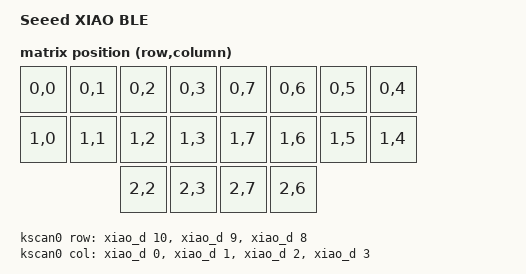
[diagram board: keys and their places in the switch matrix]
#include <dt-bindings/zmk/matrix_transform.h>

/ {
  model = "Seeed XIAO BLE";
  compatible = "seeed,xiao-ble", "seeed,xiao-ble-sense";

  chosen {
    zmk,kscan = &kscan0;
    zmk,matrix_transform = &default_transform;
    zmk,flash = &flash0;
    zmk,battery = &xiao_battery_voltage_divider;
  };

  kscan0: kscan0 {
    compatible = "zmk,kscan-gpio-matrix";
    diode-direction = "col2row";
    wakeup-source;

    col-gpios
      = <&xiao_d  0 GPIO_ACTIVE_HIGH>
      , <&xiao_d  1 GPIO_ACTIVE_HIGH>
      , <&xiao_d  2 GPIO_ACTIVE_HIGH>
      , <&xiao_d  3 GPIO_ACTIVE_HIGH>
      ;

    row-gpios
      = <&xiao_d 10 (GPIO_ACTIVE_HIGH | GPIO_PULL_DOWN)>
      , <&xiao_d  9 (GPIO_ACTIVE_HIGH | GPIO_PULL_DOWN)>
      , <&xiao_d  8 (GPIO_ACTIVE_HIGH | GPIO_PULL_DOWN)>
      ;

  };

  default_transform: keymap_transform0 {
    compatible = "zmk,matrix-transform";
    columns = <8>;
    rows = <3>;
    map = <
      RC(0,0) RC(0,1) RC(0,2) RC(0,3)    RC(0,7) RC(0,6) RC(0,5) RC(0,4)
      RC(1,0) RC(1,1) RC(1,2) RC(1,3)    RC(1,7) RC(1,6) RC(1,5) RC(1,4)
      /*           */ RC(2,2) RC(2,3)    RC(2,7) RC(2,6)
    >;
  };

  xiao_battery_voltage_divider: vbatt {
	  status = "okay";
	  compatible = "zmk,battery-voltage-divider";
	  label = "XIAO voltage divider";
	  io-channels = <&adc 7>;
	  output-ohms = <470000>;
	  full-ohms =  <1470000>;
	  power-gpios = <&gpio0 14 (GPIO_ACTIVE_LOW)>;
  };
};

&usbd {
	status = "okay";
};
